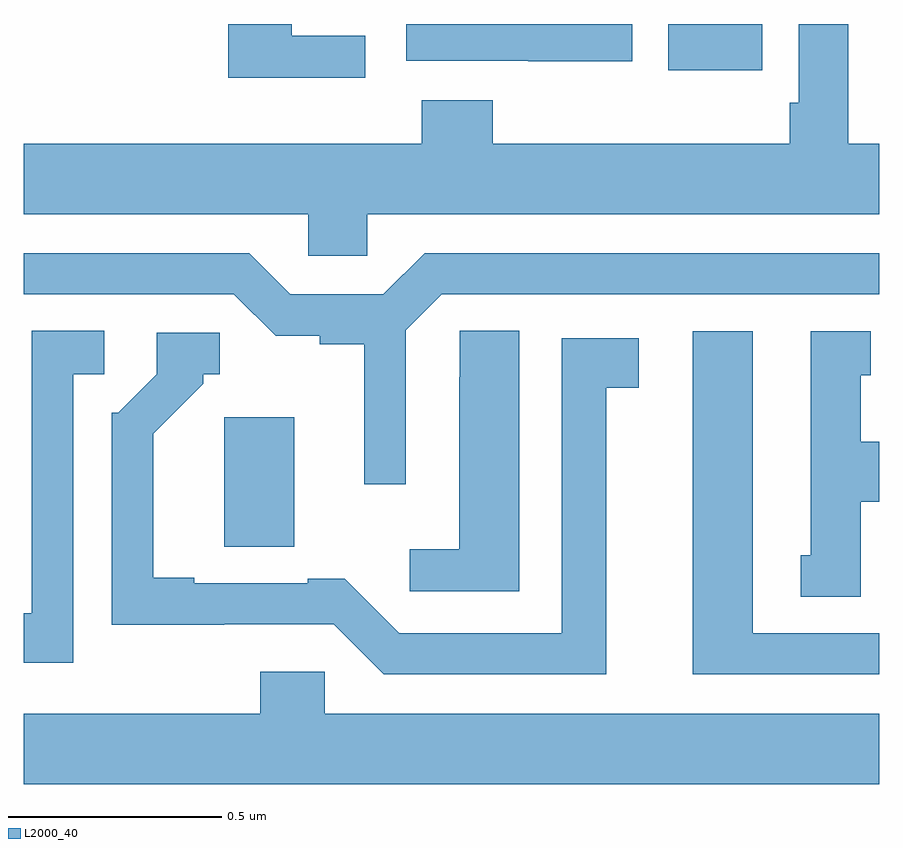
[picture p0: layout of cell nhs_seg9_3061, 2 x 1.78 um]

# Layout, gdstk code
import gdstk
lib = gdstk.Library(unit=1e-6, precision=1e-09)
def R(c, l, rs):  # rectangles x0, y0, x1, y1
    for r in rs: c.add(gdstk.rectangle(r[:2], r[2:], *l))
def P(c, l, *ps):  # polygons
    for p in ps: c.add(gdstk.Polygon(p, *l))
L2000_40 = (2000, 40)

nhs_seg9_3061 = lib.new_cell('nhs_seg9_3061')
R(nhs_seg9_3061, L2000_40, [(149.507,1227.392,149.726,1227.5)])
P(nhs_seg9_3061, L2000_40, [(149.422,1227.5),(148.894,1227.5),(148.894,1227.414),(149.179,1227.414),(149.179,1227.413),(149.422,1227.413)],
  [(148.798,1227.473),(148.627,1227.473),(148.627,1227.5),(148.478,1227.5),(148.478,1227.374),(148.798,1227.374)],
  [(148.803,1227.056),(150,1227.056),(150,1227.22),(149.927,1227.22),(149.927,1227.5),(149.811,1227.5),(149.811,1227.316),(149.791,1227.316),(149.791,1227.22),(149.096,1227.22),(149.096,1227.322),(148.931,1227.322),(148.931,1227.22),(148,1227.22),(148,1227.056),(148.665,1227.056),(148.665,1226.958),(148.803,1226.958)],
  [(148.893,1226.784),(148.977,1226.868),(150,1226.868),(150,1226.964),(148.937,1226.964),(148.841,1226.868),(148.623,1226.868),(148.527,1226.964),(148,1226.964),(148,1226.868),(148.491,1226.868),(148.589,1226.771),(148.692,1226.771),(148.692,1226.752),(148.796,1226.752),(148.796,1226.424),(148.893,1226.424)],
  [(148.116,1226.682),(148.189,1226.682),(148.189,1226.783),(148.019,1226.783),(148.019,1226.123),(148,1226.123),(148,1226.007),(148.116,1226.007)],
  [(149.158,1226.783),(149.019,1226.783),(149.019,1226.675),(149.018,1226.675),(149.018,1226.272),(148.902,1226.272),(148.902,1226.175),(149.158,1226.175)],
  [(150,1226.076),(149.704,1226.076),(149.704,1226.782),(149.564,1226.782),(149.564,1225.98),(150,1225.98)],
  [(149.956,1226.384),(150,1226.384),(150,1226.524),(149.956,1226.524),(149.956,1226.679),(149.98,1226.679),(149.98,1226.782),(149.84,1226.782),(149.84,1226.259),(149.816,1226.259),(149.816,1226.161),(149.956,1226.161)],
  [(149.362,1226.65),(149.437,1226.65),(149.437,1226.766),(149.258,1226.766),(149.258,1226.076),(148.878,1226.076),(148.75,1226.204),(148.664,1226.204),(148.664,1226.193),(148.399,1226.193),(148.399,1226.206),(148.303,1226.206),(148.303,1226.542),(148.42,1226.659),(148.42,1226.682),(148.459,1226.682),(148.459,1226.778),(148.311,1226.778),(148.311,1226.682),(148.221,1226.592),(148.206,1226.592),(148.206,1226.096),(148.469,1226.096),(148.469,1226.097),(148.725,1226.097),(148.842,1225.98),(149.362,1225.98)],
  [(148.632,1226.436),(148.633,1226.436),(148.633,1226.581),(148.469,1226.581),(148.469,1226.278),(148.632,1226.278)],
  [(150,1225.888),(148.704,1225.888),(148.704,1225.986),(148.553,1225.986),(148.553,1225.888),(148,1225.888),(148,1225.724),(150,1225.724)])

lib.write_gds('nhs_seg9_3061.gds')
